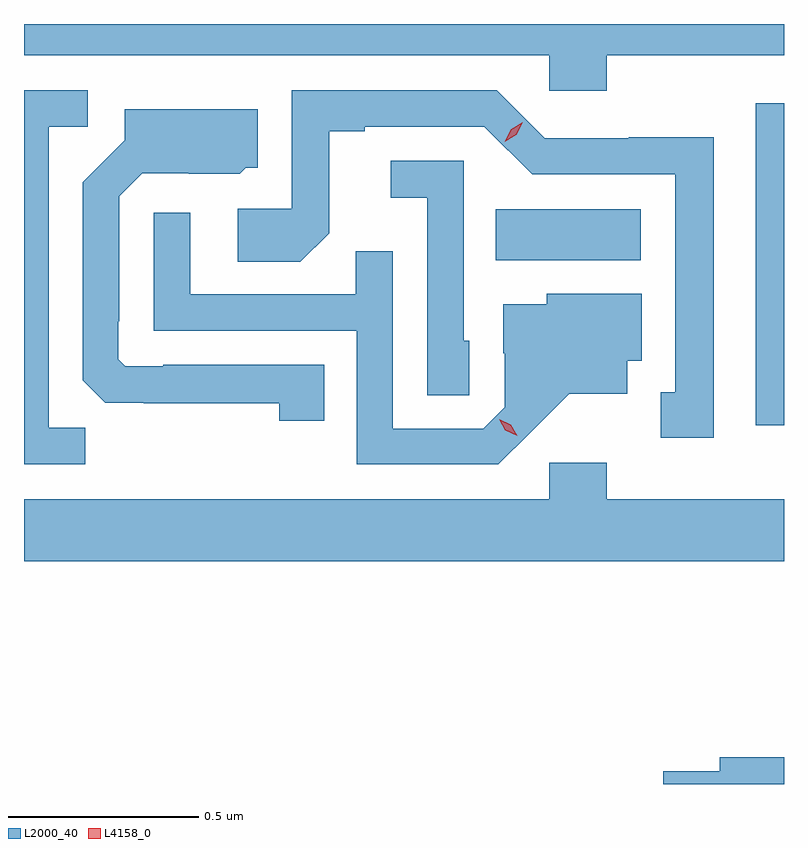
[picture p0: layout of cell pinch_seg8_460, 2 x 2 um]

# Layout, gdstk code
import gdstk
lib = gdstk.Library(unit=1e-6, precision=1e-09)
def R(c, l, rs):  # rectangles x0, y0, x1, y1
    for r in rs: c.add(gdstk.rectangle(r[:2], r[2:], *l))
def P(c, l, *ps):  # polygons
    for p in ps: c.add(gdstk.Polygon(p, *l))
L2000_40 = (2000, 40)
L4158_0 = (4158, 0)

pinch_seg8_460 = lib.new_cell('pinch_seg8_460')
R(pinch_seg8_460, L2000_40, [(203.319,1146.162,203.394,1147.009), (202.636,1146.596,203.017,1146.73)])
P(pinch_seg8_460, L2000_40, [(202.928,1147.136),(203.394,1147.136),(203.394,1147.218),(201.394,1147.218),(201.394,1147.136),(202.776,1147.136),(202.776,1147.043),(202.928,1147.043)],
  [(203.209,1146.92),(202.986,1146.92),(202.986,1146.918),(202.764,1146.918),(202.638,1147.044),(202.098,1147.044),(202.098,1146.732),(201.957,1146.732),(201.957,1146.592),(202.121,1146.592),(202.197,1146.668),(202.197,1146.936),(202.291,1146.936),(202.291,1146.948),(202.605,1146.948),(202.731,1146.822),(203.108,1146.822),(203.108,1146.249),(203.069,1146.249),(203.069,1146.129),(203.209,1146.129)],
  [(201.555,1146.155),(201.459,1146.155),(201.459,1146.948),(201.562,1146.948),(201.562,1147.044),(201.394,1147.044),(201.394,1146.06),(201.555,1146.06)],
  [(202.184,1146.321),(201.76,1146.321),(201.76,1146.318),(201.66,1146.318),(201.642,1146.336),(201.642,1146.436),(201.645,1146.436),(201.645,1146.765),(201.705,1146.825),(201.828,1146.825),(201.828,1146.824),(201.962,1146.824),(201.978,1146.84),(202.009,1146.84),(202.009,1146.994),(201.659,1146.994),(201.659,1146.912),(201.549,1146.802),(201.549,1146.28),(201.608,1146.221),(201.709,1146.221),(201.709,1146.22),(202.066,1146.22),(202.066,1146.174),(202.184,1146.174)],
  [(202.566,1146.384),(202.551,1146.384),(202.551,1146.858),(202.359,1146.858),(202.359,1146.761),(202.455,1146.761),(202.455,1146.241),(202.566,1146.241)],
  [(202.726,1146.143),(202.829,1146.245),(202.981,1146.245),(202.981,1146.332),(203.02,1146.332),(203.02,1146.508),(202.77,1146.508),(202.77,1146.481),(202.655,1146.481),(202.655,1146.352),(202.659,1146.352),(202.659,1146.21),(202.602,1146.153),(202.365,1146.153),(202.365,1146.62),(202.267,1146.62),(202.267,1146.507),(201.831,1146.507),(201.831,1146.721),(201.735,1146.721),(201.735,1146.411),(202.269,1146.411),(202.269,1146.06),(202.642,1146.06)],
  [(203.394,1145.968),(202.928,1145.968),(202.928,1146.064),(202.776,1146.064),(202.776,1145.968),(201.394,1145.968),(201.394,1145.804),(203.394,1145.804)],
  [(203.394,1145.288),(203.225,1145.288),(203.225,1145.252),(203.076,1145.252),(203.076,1145.218),(203.394,1145.218)])
P(pinch_seg8_460, L4158_0, [(202.692,1146.134),(202.661,1146.149),(202.644,1146.178),(202.644,1146.178),(202.644,1146.178),(202.675,1146.163),(202.692,1146.134),(202.692,1146.134)],
  [(202.659,1146.908),(202.659,1146.908),(202.676,1146.941),(202.707,1146.96),(202.707,1146.96),(202.707,1146.96),(202.69,1146.927),(202.659,1146.908)])

lib.write_gds('pinch_seg8_460.gds')
